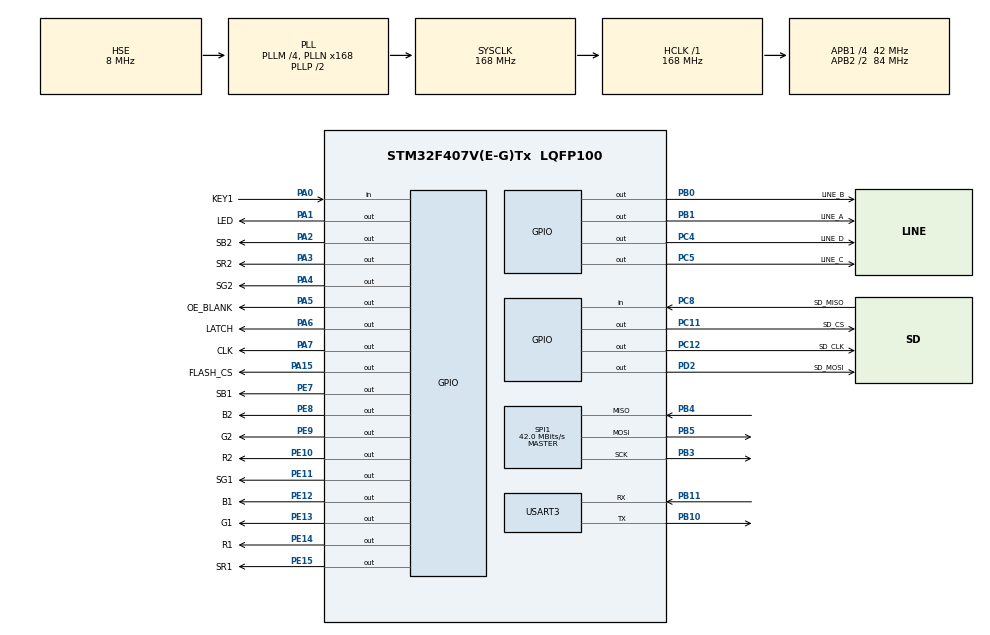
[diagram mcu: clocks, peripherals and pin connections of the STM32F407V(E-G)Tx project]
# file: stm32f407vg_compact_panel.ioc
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Mcu.Family=STM32F4
Mcu.Name=STM32F407V(E-G)Tx
Mcu.Package=LQFP100
NVIC.PriorityGroup=NVIC_PRIORITYGROUP_4
NVIC.TIM1_UP_TIM10_IRQn=true\:0\:0\:false\:false\:true\:true
NVIC.TIM2_IRQn=true\:0\:0\:false\:false\:true\:false
NVIC.TimeBase=TIM2_IRQn
NVIC.TimeBaseIP=TIM2
PA0-WKUP.GPIO_Label=KEY1
PA0-WKUP.GPIO_PuPd=GPIO_PULLDOWN
PA0-WKUP.Signal=GPIO_Input
PA1.GPIO_Label=LED
PA1.GPIO_ModeDefaultOutputPP=GPIO_MODE_OUTPUT_OD
PA1.Signal=GPIO_Output
PA13.Mode=Serial_Wire
PA13.Signal=SYS_JTMS-SWDIO
PA14.Mode=Serial_Wire
PA14.Signal=SYS_JTCK-SWCLK
PA15.GPIO_Label=FLASH_CS
PA15.Signal=GPIO_Output
PA2.GPIO_Label=SB2
PA2.Signal=GPIO_Output
PA3.GPIO_Label=SR2
PA3.Signal=GPIO_Output
PA4.GPIO_Label=SG2
PA4.Signal=GPIO_Output
PA5.GPIO_Label=OE_BLANK
PA5.Signal=GPIO_Output
PA6.GPIO_Label=LATCH
PA6.Signal=GPIO_Output
PA7.GPIO_Label=CLK
PA7.Signal=GPIO_Output
PB0.GPIO_Label=LINE_B
PB0.Signal=GPIO_Output
PB1.GPIO_Label=LINE_A
PB1.Signal=GPIO_Output
PB10.Mode=Asynchronous
PB10.Signal=USART3_TX
PB11.Mode=Asynchronous
PB11.Signal=USART3_RX
PB3.Mode=Full_Duplex_Master
PB3.Signal=SPI1_SCK
PB4.Mode=Full_Duplex_Master
PB4.Signal=SPI1_MISO
PB5.Mode=Full_Duplex_Master
PB5.Signal=SPI1_MOSI
PC11.GPIO_Label=SD_CS
PC11.GPIO_Speed=GPIO_SPEED_FREQ_VERY_HIGH
PC11.Signal=GPIO_Output
PC12.GPIO_Label=SD_CLK
PC12.GPIO_Speed=GPIO_SPEED_FREQ_VERY_HIGH
PC12.Signal=GPIO_Output
PC14-OSC32_IN.Mode=LSE-External-Oscillator
PC14-OSC32_IN.Signal=RCC_OSC32_IN
PC15-OSC32_OUT.Mode=LSE-External-Oscillator
PC15-OSC32_OUT.Signal=RCC_OSC32_OUT
PC4.GPIO_Label=LINE_D
PC4.Signal=GPIO_Output
PC5.GPIO_Label=LINE_C
PC5.Signal=GPIO_Output
PC8.GPIO_Label=SD_MISO
PC8.Signal=GPIO_Input
PD2.GPIO_Label=SD_MOSI
PD2.GPIO_Speed=GPIO_SPEED_FREQ_VERY_HIGH
PD2.Signal=GPIO_Output
PE10.GPIO_Label=R2
PE10.Signal=GPIO_Output
PE11.GPIO_Label=SG1
PE11.Signal=GPIO_Output
PE12.GPIO_Label=B1
PE12.Signal=GPIO_Output
PE13.GPIO_Label=G1
PE13.Signal=GPIO_Output
PE14.GPIO_Label=R1
PE14.Signal=GPIO_Output
PE15.GPIO_Label=SR1
PE15.Signal=GPIO_Output
PE7.GPIO_Label=SB1
PE7.Signal=GPIO_Output
PE8.GPIO_Label=B2
PE8.Signal=GPIO_Output
PE9.GPIO_Label=G2
PE9.Signal=GPIO_Output
PH0-OSC_IN.Mode=HSE-External-Oscillator
PH0-OSC_IN.Signal=RCC_OSC_IN
PH1-OSC_OUT.Mode=HSE-External-Oscillator
PH1-OSC_OUT.Signal=RCC_OSC_OUT
ProjectManager.HeapSize=0x200
ProjectManager.StackSize=0x400
ProjectManager.TargetToolchain=SW4STM32
RCC.48MHZClocksFreq_Value=48000000
RCC.AHBFreq_Value=168000000
RCC.APB1CLKDivider=RCC_HCLK_DIV4
RCC.APB1Freq_Value=42000000
RCC.APB1TimFreq_Value=84000000
RCC.APB2CLKDivider=RCC_HCLK_DIV2
RCC.APB2Freq_Value=84000000
RCC.APB2TimFreq_Value=168000000
RCC.CortexFreq_Value=168000000
RCC.HCLKFreq_Value=168000000
RCC.HSE_VALUE=8000000
RCC.HSI_VALUE=16000000
RCC.PLLM=4
RCC.PLLN=168
RCC.PLLQ=7
RCC.PLLSourceVirtual=RCC_PLLSOURCE_HSE
RCC.RCC_RTC_Clock_Source=RCC_RTCCLKSOURCE_LSE
RCC.RCC_RTC_Clock_SourceVirtual=RCC_RTCCLKSOURCE_LSE
RCC.RCC_RTC_Clock_Source_FROM_HSE=RCC_RTCCLKSOURCE_HSE_DIV16
RCC.SYSCLKFreq_VALUE=168000000
RCC.SYSCLKSource=RCC_SYSCLKSOURCE_PLLCLK
RCC.VCOOutputFreq_Value=336000000
SPI1.CalculateBaudRate=42.0 MBits/s
SPI1.Direction=SPI_DIRECTION_2LINES
SPI1.Mode=SPI_MODE_MASTER
SPI1.VirtualType=VM_MASTER
TIM1.Period=40-1
TIM1.Prescaler=168-1
USART3.VirtualMode=VM_ASYNC
VP_FATFS_VS_Generic.Mode=User_defined
VP_RTC_VS_RTC_Activate.Mode=RTC_Enabled
VP_RTC_VS_RTC_Calendar.Mode=RTC_Calendar
VP_SYS_VS_tim2.Mode=TIM2
VP_TIM1_VS_ClockSourceINT.Mode=Internal
board=custom

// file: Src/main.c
/* USER CODE BEGIN Header */
/**
  ******************************************************************************
  * @file           : main.c
  * @brief          : Main program body
  ******************************************************************************
  * This notice applies to any and all portions of this file
  * that are not between comment pairs USER CODE BEGIN and
  * USER CODE END. Other portions of this file, whether
  * inserted by the user or by software development tools
  * are owned by their respective copyright owners.
  *
  * Copyright (c) 2019 STMicroelectronics International N.V.
  * All rights reserved.
  *
  * Redistribution and use in source and binary forms, with or without
  * modification, are permitted, provided that the following conditions are met:
  *
  * 1. Redistribution of source code must retain the above copyright notice,
  *    this list of conditions and the following disclaimer.
  * 2. Redistributions in binary form must reproduce the above copyright notice,
  *    this list of conditions and the following disclaimer in the documentation
  *    and/or other materials provided with the distribution.
  * 3. Neither the name of STMicroelectronics nor the names of other
  *    contributors to this software may be used to endorse or promote products
  *    derived from this software without specific written permission.
  * 4. This software, including modifications and/or derivative works of this
  *    software, must execute solely and exclusively on microcontroller or
  *    microprocessor devices manufactured by or for STMicroelectronics.
  * 5. Redistribution and use of this software other than as permitted under
  *    this license is void and will automatically terminate your rights under
  *    this license.
  *
  * THIS SOFTWARE IS PROVIDED BY STMICROELECTRONICS AND CONTRIBUTORS "AS IS"
  * AND ANY EXPRESS, IMPLIED OR STATUTORY WARRANTIES, INCLUDING, BUT NOT
  * LIMITED TO, THE IMPLIED WARRANTIES OF MERCHANTABILITY, FITNESS FOR A
  * PARTICULAR PURPOSE AND NON-INFRINGEMENT OF THIRD PARTY INTELLECTUAL PROPERTY
  * RIGHTS ARE DISCLAIMED TO THE FULLEST EXTENT PERMITTED BY LAW. IN NO EVENT
  * SHALL STMICROELECTRONICS OR CONTRIBUTORS BE LIABLE FOR ANY DIRECT, INDIRECT,
  * INCIDENTAL, SPECIAL, EXEMPLARY, OR CONSEQUENTIAL DAMAGES (INCLUDING, BUT NOT
  * LIMITED TO, PROCUREMENT OF SUBSTITUTE GOODS OR SERVICES; LOSS OF USE, DATA,
  * OR PROFITS; OR BUSINESS INTERRUPTION) HOWEVER CAUSED AND ON ANY THEORY OF
  * LIABILITY, WHETHER IN CONTRACT, STRICT LIABILITY, OR TORT (INCLUDING
  * NEGLIGENCE OR OTHERWISE) ARISING IN ANY WAY OUT OF THE USE OF THIS SOFTWARE,
  * EVEN IF ADVISED OF THE POSSIBILITY OF SUCH DAMAGE.
  *
  ******************************************************************************
  */
/* USER CODE END Header */

#include "main.h"
#include "fatfs.h"

/* USER CODE BEGIN Includes */
#include <stdio.h>
#include <stdarg.h>
#include <string.h>
#include <math.h>
#include "w25qxx.h"
#include "stm32_adafruit_sd.h"

/* USER CODE END Includes */

RTC_HandleTypeDef hrtc;

SPI_HandleTypeDef hspi1;

TIM_HandleTypeDef htim1;

UART_HandleTypeDef huart3;

/* USER CODE BEGIN PV */
void retarget_put_char(char p)
{
	//UartReadyT = RESET;
	HAL_UART_Transmit(&huart3, &p, 1,0xffff); // send message via UART
	//while(UartReadyT != SET)
	//{

	//}
}

int _write(int fd, char* ptr, int len)
{
    (void)fd;
    int i = 0;
    while (ptr[i] && (i < len))
    {
    	if (ptr[i] == '\r')
    	{

    	}
    	else
    	{
    		retarget_put_char((int)ptr[i]);
			if (ptr[i] == '\n')
			{
				retarget_put_char((int)'\r');
			}
    	}
        i++;
    }
    return len;
}
uint8_t      SD_BUFF[512];
#define SD_TIMEOUT 30 * 1000

/* USER CODE END PV */

void SystemClock_Config(void);
static void MX_GPIO_Init(void);
static void MX_RTC_Init(void);
static void MX_USART3_UART_Init(void);
static void MX_SPI1_Init(void);
static void MX_TIM1_Init(void);

/* USER CODE BEGIN 0 */
#define SW 64
#define SH 64
uint8_t matrix[SH][SW][3];
uint16_t matrix_comp[SH][SW];

/*
 * PIN IN
 * R1  G1
 * B1  GRN
 * R2  G2
 * B2  GND
 * A   B
 * C   D
 * CLK LAT
 * OE  GND
 */

volatile int ss = 0;
#define SDEL(N) {for(int k=0;k<N;k++) ss++;}
void tick(int p)
{
	SDEL(1);
	HAL_GPIO_WritePin(CLK_GPIO_Port,CLK_Pin,p?GPIO_PIN_SET:GPIO_PIN_RESET);
	SDEL(1);
}
void latch(int p)
{
	SDEL(1);
	HAL_GPIO_WritePin(LATCH_GPIO_Port,LATCH_Pin,p?GPIO_PIN_SET:GPIO_PIN_RESET);
	SDEL(1);
}
void blank(int p)
{
	SDEL(1);
	HAL_GPIO_WritePin(OE_BLANK_GPIO_Port,OE_BLANK_Pin,p?GPIO_PIN_SET:GPIO_PIN_RESET);
	SDEL(1);
}

void clear()
{
	for(int y=0;y<SH;y++)
	{
		for(int x=0;x<SW;x++)
		{
			matrix[y][x][0] = 0;
			matrix[y][x][1] = 0;
			matrix[y][x][2] = 0;
		}
	}
}
uint16_t LCD_getWidth() {
    return SW;
}

uint16_t LCD_getHeight() {
    return SH;
}
#define MAX(X,Y) ((X>Y)?X:Y)
#define MIN(X,Y) ((X<Y)?X:Y)
inline int clamp(int val,int minval,int maxval)
{
	return MAX(MIN(maxval,val),minval);
}
uint16_t makeColor(int R,int G,int B) //565
{
	return ((R>>3)<<11)|((G>>2)<<5)|(B>>3);
}
#define BLACK           0x0000      /*   0,   0,   0 */
#define NAVY            0x000F      /*   0,   0, 128 */
#define DGREEN          0x03E0      /*   0, 128,   0 */
#define DCYAN           0x03EF      /*   0, 128, 128 */
#define MAROON          0x7800      /* 128,   0,   0 */
#define PURPLE          0x780F      /* 128,   0, 128 */
#define OLIVE           0x7BE0      /* 128, 128,   0 */
#define LGRAY           0xC618      /* 192, 192, 192 */
#define DGRAY           0x7BEF      /* 128, 128, 128 */
#define BLUE            0x001F      /*   0,   0, 255 */
#define GREEN           0x07E0      /*   0, 255,   0 */
#define CYAN            0x07FF      /*   0, 255, 255 */
#define RED             0xF800      /* 255,   0,   0 */
#define MAGENTA         0xF81F      /* 255,   0, 255 */
#define YELLOW          0xFFE0      /* 255, 255,   0 */
#define WHITE           0xFFFF      /* 255, 255, 255 */
#define ORANGE          0xFD20      /* 255, 165,   0 */
//#define BGROUND   makeColor(16,0,16)
#define BGROUND   makeColor(0,0,0)
uint16_t colorTableA[] =
{
		NAVY,
		YELLOW,
		WHITE,
		MAGENTA,
		RED,
		CYAN,
		GREEN,
		BLUE,
		OLIVE,
		PURPLE,
		MAROON,
		NAVY,
		DGREEN
};

void splitColor(uint16_t COLOR,uint8_t* RGB,int BR)
{
	RGB[0] = (((COLOR>>11)&0x1f)<<3)>>BR;
	RGB[1] = (((COLOR>>5)&0x3f)<<2)>>BR;
	RGB[2] = (((COLOR)&0x1f)<<3)>>BR;
}
inline void LCD_fillRect(uint16_t x1, uint16_t y1, uint16_t w, uint16_t h, uint16_t color)
{
	x1 = clamp(x1,0,SW);
	int x2 = clamp(x1+w,0,SW);
	y1 = clamp(y1,0,SH);
	int y2 = clamp(y1+h,0,SH);
	//printf("%d,%d %d,%d\n",x1,y1,x2,y2);
	for(int y = y1; y<y2;y++)
	{
		for(int x = x1; x<x2;x++)
		{
			matrix_comp[y][x] = color;
		}
	}
}
inline void LCD_fillRectP(uint16_t x1, uint16_t y1, uint16_t w, uint16_t h, uint16_t *color)
{
	x1 = clamp(x1,0,SW);
	int x2 = clamp(x1+w,0,SW);
	y1 = clamp(y1,0,SH);
	int y2 = clamp(y1+h,0,SH);
	//printf("%d,%d %d,%d\n",x1,y1,x2,y2);
	for(int y = y1; y<y2;y++)
	{
		for(int x = x1; x<x2;x++)
		{
			matrix_comp[y][x] = *color++;
		}
	}
}
inline void LCD_DrawHLine(uint16_t x1,uint16_t y1,uint16_t length,uint16_t color)
{
	LCD_fillRect(x1,y1,length,1,color);
}
inline void LCD_DrawVLine(uint16_t x1,uint16_t y1,uint16_t length,uint16_t color)
{
	LCD_fillRect(x1,y1,1,length,color);
}
inline void LCD_DrawPixel(uint16_t x1, uint16_t y1,uint16_t color)
{
	LCD_fillRect(x1, y1, 1, 1,color);
}
#define ABS(X)  ((X) > 0 ? (X) : -(X))
void LCD_DrawLine(uint16_t x1, uint16_t y1, uint16_t x2, uint16_t y2,uint16_t color)
{
  int16_t deltax = 0, deltay = 0, x = 0, y = 0, xinc1 = 0, xinc2 = 0,
  yinc1 = 0, yinc2 = 0, den = 0, num = 0, numadd = 0, numpixels = 0,
  curpixel = 0;

  deltax = ABS(x2 - x1);        /* The difference between the x's */
  deltay = ABS(y2 - y1);        /* The difference between the y's */
  x = x1;                       /* Start x off at the first pixel */
  y = y1;                       /* Start y off at the first pixel */

  if (x2 >= x1)                 /* The x-values are increasing */
  {
    xinc1 = 1;
    xinc2 = 1;
  }
  else                          /* The x-values are decreasing */
  {
    xinc1 = -1;
    xinc2 = -1;
  }

  if (y2 >= y1)                 /* The y-values are increasing */
  {
    yinc1 = 1;
    yinc2 = 1;
  }
  else                          /* The y-values are decreasing */
  {
    yinc1 = -1;
    yinc2 = -1;
  }

  if (deltax >= deltay)         /* There is at least one x-value for every y-value */
  {
    xinc1 = 0;                  /* Don't change the x when numerator >= denominator */
    yinc2 = 0;                  /* Don't change the y for every iteration */
    den = deltax;
    num = deltax / 2;
    numadd = deltay;
    numpixels = deltax;         /* There are more x-values than y-values */
  }
  else                          /* There is at least one y-value for every x-value */
  {
    xinc2 = 0;                  /* Don't change the x for every iteration */
    yinc1 = 0;                  /* Don't change the y when numerator >= denominator */
    den = deltay;
    num = deltay / 2;
    numadd = deltax;
    numpixels = deltay;         /* There are more y-values than x-values */
  }

  for (curpixel = 0; curpixel <= numpixels; curpixel++)
  {
    LCD_DrawPixel(x, y , color);  /* Draw the current pixel */
    num += numadd;                            /* Increase the numerator by the top of the fraction */
    if (num >= den)                           /* Check if numerator >= denominator */
    {
      num -= den;                             /* Calculate the new numerator value */
      x += xinc1;                             /* Change the x as appropriate */
      y += yinc1;                             /* Change the y as appropriate */
    }
    x += xinc2;                               /* Change the x as appropriate */
    y += yinc2;                               /* Change the y as appropriate */
  }
}

void LCD_DrawCircle(uint16_t Xpos, uint16_t Ypos, uint16_t Radius,uint16_t color)
{
   if(Radius==0)
   {
	   LCD_DrawPixel(Xpos,Ypos,color);
	   return;
   }

  int32_t  D;       /* Decision Variable */
  uint32_t  CurX;   /* Current X Value */
  uint32_t  CurY;   /* Current Y Value */

  D = 3 - (Radius << 1);
  CurX = 0;
  CurY = Radius;

  while (CurX <= CurY)
  {
    LCD_DrawPixel((Xpos + CurX), (Ypos - CurY), color);

    LCD_DrawPixel((Xpos - CurX), (Ypos - CurY), color);

    LCD_DrawPixel((Xpos + CurY), (Ypos - CurX), color);

    LCD_DrawPixel((Xpos - CurY), (Ypos - CurX), color);

    LCD_DrawPixel((Xpos + CurX), (Ypos + CurY), color);

    LCD_DrawPixel((Xpos - CurX), (Ypos + CurY), color);

    LCD_DrawPixel((Xpos + CurY), (Ypos + CurX), color);

    LCD_DrawPixel((Xpos - CurY), (Ypos + CurX), color);

    if (D < 0)
    {
      D += (CurX << 2) + 6;
    }
    else
    {
      D += ((CurX - CurY) << 2) + 10;
      CurY--;
    }
    CurX++;
  }
}
void LCD_DrawCircleFull(uint16_t Xpos, uint16_t Ypos, uint16_t Radius,uint16_t color)
{
   if(Radius==0)
   {
	   LCD_DrawPixel(Xpos,Ypos,color);
	   return;
   }

  int32_t  D;       /* Decision Variable */
  uint32_t  CurX;   /* Current X Value */
  uint32_t  CurY;   /* Current Y Value */

  D = 3 - (Radius << 1);
  CurX = 0;
  CurY = Radius;

  while (CurX <= CurY)
  {
//    LCD_DrawPixel((Xpos + CurX), (Ypos - CurY), color);
//    LCD_DrawPixel((Xpos - CurX), (Ypos - CurY), color);
    LCD_DrawHLine(Xpos - CurX,Ypos - CurY,CurX*2,color);

//    LCD_DrawPixel((Xpos + CurY), (Ypos - CurX), color);
//    LCD_DrawPixel((Xpos - CurY), (Ypos - CurX), color);
    LCD_DrawHLine(Xpos - CurY,Ypos - CurX,CurY*2,color);

//    LCD_DrawPixel((Xpos + CurX), (Ypos + CurY), color);
//    LCD_DrawPixel((Xpos - CurX), (Ypos + CurY), color);
    LCD_DrawHLine(Xpos - CurX,Ypos + CurY,CurX*2,color);

//    LCD_DrawPixel((Xpos + CurY), (Ypos + CurX), color);
//    LCD_DrawPixel((Xpos - CurY), (Ypos + CurX), color);
    LCD_DrawHLine(Xpos - CurY,Ypos + CurX,CurY*2,color);

    if (D < 0)
    {
      D += (CurX << 2) + 6;
    }
    else
    {
      D += ((CurX - CurY) << 2) + 10;
      CurY--;
    }
    CurX++;
  }
}

void LCD_DrawEllipse(int Xpos, int Ypos, int XRadius, int YRadius,uint16_t color)
{
  int x = 0, y = -YRadius, err = 2-2*XRadius, e2;
  float K = 0, rad1 = 0, rad2 = 0;

  rad1 = XRadius;
  rad2 = YRadius;

  K = (float)(rad2/rad1);

  do {
	  uint16_t dt = (uint16_t)(x/K);
    LCD_DrawPixel(Xpos-dt, (Ypos+y), color);
    LCD_DrawPixel(Xpos+dt, (Ypos+y), color);
    LCD_DrawPixel(Xpos+dt, (Ypos-y), color);
    LCD_DrawPixel(Xpos-dt, (Ypos-y), color);

    e2 = err;
    if (e2 <= x) {
      err += ++x*2+1;
      if (-y == x && e2 <= y) e2 = 0;
    }
    if (e2 > y) err += ++y*2+1;
  }
  while (y <= 0);
}
void LCD_DrawEllipseFull(int Xpos, int Ypos, int XRadius, int YRadius,uint16_t color)
{
  int x = 0, y = -YRadius, err = 2-2*XRadius, e2;
  float K = 0, rad1 = 0, rad2 = 0;

  rad1 = XRadius;
  rad2 = YRadius;

  K = (float)(rad2/rad1);

  do {
	  uint16_t dt = (uint16_t)(x/K);
	  LCD_DrawHLine(Xpos-dt, (Ypos+y),dt*2, color);
	  LCD_DrawHLine(Xpos-dt, (Ypos-y),dt*2, color);

    e2 = err;
    if (e2 <= x) {
      err += ++x*2+1;
      if (-y == x && e2 <= y) e2 = 0;
    }
    if (e2 > y) err += ++y*2+1;
  }
  while (y <= 0);
}

#include "fonts.h"
sFONT* FONT_CURR =  &Font12;
#define CHAR_WIDTH (FONT_CURR->Width)
#define CHAR_HEIGHT (FONT_CURR->Height)

void LCD_Draw_Char2(char Character, int16_t X, int16_t Y, uint16_t Colour, uint16_t SizeX,uint16_t SizeY, uint16_t Background_Colour)
{
	//~ flagReinit = 1;
	uint8_t 	function_char;
    int16_t 	i,j;

	function_char = Character;

	// Draw pixels
	LCD_fillRect(X, Y, CHAR_WIDTH*SizeX, CHAR_HEIGHT*SizeY, Background_Colour);

    if (function_char <= 0x20)
	{

	}
	else
	{
		function_char -= 0x20;
		int rw = (CHAR_WIDTH+7)/8;
		for (j=0; j<FONT_CURR->Height; j++)
		{
			uint8_t* pnt =  FONT_CURR->table+j*rw+function_char*FONT_CURR->Height*rw;
			for (i=0; i<FONT_CURR->Width; i++)
			{
				uint8_t bt = pnt[i/8];
				if(bt&(1<<(7-(i&7))))
				{
					LCD_fillRect(X+(i*SizeX), Y+(j*SizeY), SizeX,SizeY, Colour);
				}
			}
		}
	}
}

void ClrScr()
{
	LCD_fillRect(0,0,LCD_getWidth(),LCD_getHeight(),BGROUND);
}
void convertColors()
{
	for(int y=0;y<SH;y++)
	{
		for(int x=0;x<SW;x++)
		{
			splitColor(matrix_comp[y][x],&matrix[y][x][0],4);
		}
	}
}
#define HAL_GPIO_WritePinAI(X,Y,Z)  (X)->BSRR= (Y)<<(Z)
/*
volatile uint32_t timeCount = 0;
void rDelayMks(int mks)
{
	volatile uint32_t timeCount_stop = timeCount+mks/10;
	while((timeCount_stop-timeCount)<0x800000)
	{
		//nothing
	}

}
*/
volatile static y_count2  = 0;
volatile static y_cnt     = 0;

void shiftData(int ON_OFF,int y_base)
{
	//for(int y=0;y<SH/2;y++)
	if(y_base&1)
	{
		blank(1);
		return;
	}
	else
	{
		int y = y_base>>1;
			latch(1);
				tick(0);
				tick(1);
				tick(0);
				tick(1);
				tick(0);
				tick(1);
				tick(0);
			latch(0);

			for(int i=0;i<SW;i++)
			{
				//tick(0);
				HAL_GPIO_WritePinAI(CLK_GPIO_Port,CLK_Pin,16);
				HAL_GPIO_WritePinAI(CLK_GPIO_Port,CLK_Pin,16);

				HAL_GPIO_WritePinAI(R1_GPIO_Port,R1_Pin,((matrix[y][i][0]>ON_OFF)?0:16));
				HAL_GPIO_WritePinAI(G1_GPIO_Port,G1_Pin,((matrix[y][i][1]>ON_OFF)?0:16));
				HAL_GPIO_WritePinAI(B1_GPIO_Port,B1_Pin,((matrix[y][i][2]>ON_OFF)?0:16));

				HAL_GPIO_WritePinAI(R2_GPIO_Port,R2_Pin,((matrix[y+SH/4][i][0]>ON_OFF)?0:16));
				HAL_GPIO_WritePinAI(G2_GPIO_Port,G2_Pin,((matrix[y+SH/4][i][1]>ON_OFF)?0:16));
				HAL_GPIO_WritePinAI(B2_GPIO_Port,B2_Pin,((matrix[y+SH/4][i][2]>ON_OFF)?0:16));

				HAL_GPIO_WritePinAI(SR1_GPIO_Port,SR1_Pin,((matrix[y+2*SH/4][i][0]>ON_OFF)?0:16));
				HAL_GPIO_WritePinAI(SG1_GPIO_Port,SG1_Pin,((matrix[y+2*SH/4][i][1]>ON_OFF)?0:16));
				HAL_GPIO_WritePinAI(SB1_GPIO_Port,SB1_Pin,((matrix[y+2*SH/4][i][2]>ON_OFF)?0:16));

				HAL_GPIO_WritePinAI(SR2_GPIO_Port,SR2_Pin,((matrix[y+3*SH/4][i][0]>ON_OFF)?0:16));
				HAL_GPIO_WritePinAI(SG2_GPIO_Port,SG2_Pin,((matrix[y+3*SH/4][i][1]>ON_OFF)?0:16));
				HAL_GPIO_WritePinAI(SB2_GPIO_Port,SB2_Pin,((matrix[y+3*SH/4][i][2]>ON_OFF)?0:16));

				//tick(0);
				//HAL_GPIO_WritePinAI(CLK_GPIO_Port,CLK_Pin,16);
				//HAL_GPIO_WritePinAI(CLK_GPIO_Port,CLK_Pin,16);
				HAL_GPIO_WritePinAI(CLK_GPIO_Port,CLK_Pin,16);
				HAL_GPIO_WritePinAI(CLK_GPIO_Port,CLK_Pin,16);
			//	HAL_GPIO_WritePinAI(CLK_GPIO_Port,CLK_Pin,16);
			//	HAL_GPIO_WritePinAI(CLK_GPIO_Port,CLK_Pin,16);
				//tick(1);
				//HAL_GPIO_WritePinAI(CLK_GPIO_Port,CLK_Pin,0);
				HAL_GPIO_WritePinAI(CLK_GPIO_Port,CLK_Pin,0);
				HAL_GPIO_WritePinAI(CLK_GPIO_Port,CLK_Pin,0);
			}
			tick(0);
			latch(1);
			latch(0);
		HAL_GPIO_WritePin(LINE_A_GPIO_Port,LINE_A_Pin,((y)&(1))?GPIO_PIN_SET:GPIO_PIN_RESET);
		HAL_GPIO_WritePin(LINE_B_GPIO_Port,LINE_B_Pin,((y)&(2))?GPIO_PIN_SET:GPIO_PIN_RESET);
		HAL_GPIO_WritePin(LINE_C_GPIO_Port,LINE_C_Pin,((y)&(4))?GPIO_PIN_SET:GPIO_PIN_RESET);
		HAL_GPIO_WritePin(LINE_D_GPIO_Port,LINE_D_Pin,((y)&(8))?GPIO_PIN_SET:GPIO_PIN_RESET);
		blank(0);
		//rDelayMks(10);
		//rDelayMks(10);
	}
}

void HAL_TIM_PeriodElapsedCallback1(TIM_HandleTypeDef *htim)
{
	shiftData(y_cnt , y_count2);
	y_count2++;
	if(y_count2>=SH/2)
	{
		y_count2 = 0;
		y_cnt = (y_cnt+1)%16;
	}
}
void  LCD_Draw_Text2(const char* Text, int16_t X, int16_t Y, uint16_t Colour, uint16_t SizeX, uint16_t SizeY,uint16_t Background_Colour)
{
    while (*Text) {
        LCD_Draw_Char2(*Text, X, Y, Colour, SizeX,SizeY, Background_Colour);
        X += CHAR_WIDTH*SizeX;
	Text++;
    }
}

char* MontTable[] = {"   ","Jan","Feb","Mar","Apr","May","Jun","Jul","Aug","Sep","Oct","Nov","Dec"};
void dTest()
{
	  {
			uint32_t trt = HAL_GetTick();
			int k;
			//setBK_imp(99);

			for(k=0;k<1000;k++)
			{
				int IW = rand()%(LCD_getWidth()/2);
				int IH = rand()%(LCD_getHeight()/2);
				int xPos =rand()%(LCD_getWidth()-IW);
				int yPos =rand()%(LCD_getHeight()-IH);

				LCD_fillRect(xPos, yPos, IW, IH,rand());
				convertColors();
				//HAL_GPIO_TogglePin(BOARD_LED_GPIO_Port,BOARD_LED_Pin);
			}
			trt = (HAL_GetTick()-trt);
			printf("Rect Full %d ms\n",trt);
			HAL_Delay(1000);
			LCD_fillRect(0, 0, LCD_getWidth(), LCD_getHeight(), BLACK);
	  }
	  {
			uint32_t trt = HAL_GetTick();
			int k;
			//setBK_imp(99);

			for(k=0;k<1000;k++)
			{
				int IW = rand()%(LCD_getWidth()/2);
				int IH = rand()%(LCD_getHeight()/2);
				int xPos =rand()%(LCD_getWidth()-IW);
				int yPos =rand()%(LCD_getHeight()-IH);

				LCD_fillRect(xPos, yPos, IW, IH,rand());
				convertColors();
				//HAL_GPIO_TogglePin(BOARD_LED_GPIO_Port,BOARD_LED_Pin);
			}
			trt = (HAL_GetTick()-trt);
			printf("Rect %d ms\n",trt);
			HAL_Delay(1000);
			LCD_fillRect(0, 0, LCD_getWidth(), LCD_getHeight(), BLACK);
	  }
	  {
			uint32_t trt = HAL_GetTick();
			int k;
			//setBK_imp(99);

			for(k=0;k<1000;k++)
			{
				int xPos =rand()%(LCD_getWidth());
				int yPos =rand()%(LCD_getHeight());
				int xPos1 =rand()%(LCD_getWidth());
				int yPos1 =rand()%(LCD_getHeight());

				LCD_DrawLine(xPos, yPos,xPos1,yPos1,rand());
				convertColors();
				//HAL_GPIO_TogglePin(BOARD_LED_GPIO_Port,BOARD_LED_Pin);
			}
			trt = (HAL_GetTick()-trt);
			printf("Lines %d ms\n",trt);
			HAL_Delay(1000);
			LCD_fillRect(0, 0, LCD_getWidth(), LCD_getHeight(), BLACK);
	  }
	  {
			uint32_t trt = HAL_GetTick();
			int k;
			//setBK_imp(99);

			for(k=0;k<1000;k++)
			{
				int R = (rand()%(LCD_getHeight()/4));
				int xPos =rand()%(LCD_getWidth()-R*2);
				int yPos =rand()%(LCD_getHeight()-R*2);

				LCD_DrawCircle(xPos+R, yPos+R, R ,rand());
				convertColors();
				//HAL_GPIO_TogglePin(BOARD_LED_GPIO_Port,BOARD_LED_Pin);
			}
			trt = (HAL_GetTick()-trt);
			printf("Circle %d ms\n",trt);
			HAL_Delay(1000);
			LCD_fillRect(0, 0, LCD_getWidth(), LCD_getHeight(), BLACK);
	  }
	  {
			uint32_t trt = HAL_GetTick();
			int k;
			//setBK_imp(99);

			for(k=0;k<1000;k++)
			{
				int R = (rand()%(LCD_getHeight()/4));
				int xPos =rand()%(LCD_getWidth()-R*2);
				int yPos =rand()%(LCD_getHeight()-R*2);

				LCD_DrawCircleFull(xPos+R, yPos+R, R ,rand());
				convertColors();
				//HAL_GPIO_TogglePin(BOARD_LED_GPIO_Port,BOARD_LED_Pin);
			}
			trt = (HAL_GetTick()-trt);
			printf("Circle Full %d ms\n",trt);
			HAL_Delay(1000);
			LCD_fillRect(0, 0, LCD_getWidth(), LCD_getHeight(), BLACK);
	  }
	  {
			uint32_t trt = HAL_GetTick();
			int k;
			//setBK_imp(99);

			for(k=0;k<1000;k++)
			{
				int R = (rand()%(LCD_getHeight()/4));
				int xPos =rand()%(LCD_getWidth()-R*2);
				int yPos =rand()%(LCD_getHeight()-R*2);

				LCD_DrawEllipse(xPos+R, yPos+R, R ,R+1,rand());
				convertColors();
				//HAL_GPIO_TogglePin(BOARD_LED_GPIO_Port,BOARD_LED_Pin);
			}
			trt = (HAL_GetTick()-trt);
			printf("Ellipse %d ms\n",trt);
			HAL_Delay(1000);
			LCD_fillRect(0, 0, LCD_getWidth(), LCD_getHeight(), BLACK);
	  }
	  {
			uint32_t trt = HAL_GetTick();
			int k;
			//setBK_imp(99);

			for(k=0;k<1000;k++)
			{
				int R = (rand()%(LCD_getHeight()/4));
				int xPos =rand()%(LCD_getWidth()-R*2);
				int yPos =rand()%(LCD_getHeight()-R*2);

				LCD_DrawEllipseFull(xPos+R, yPos+R, R ,R+1,rand());
				convertColors();
				//HAL_GPIO_TogglePin(BOARD_LED_GPIO_Port,BOARD_LED_Pin);
			}
			trt = (HAL_GetTick()-trt);
			printf("Ellipse Full %d ms\n",trt);
			HAL_Delay(1000);
			LCD_fillRect(0, 0, LCD_getWidth(), LCD_getHeight(), BLACK);
			convertColors();
	  }

}
typedef struct v2ff
{
	float x;
	float y;
}vec2f;

void rotate_mat(float angle,float x,float y,float * mat)
{
	float SIN = sin(angle);
	float COS = cos(angle);
	mat[0] = COS; mat[1]  = -SIN;  mat[2] =x;
	mat[3] = SIN;  mat[4]  =  COS; mat[5] =y;
}

vec2f  apply(float * mat,vec2f  vec)
{
	vec2f res;
	res.x =	vec.x*mat[0] +vec.y*mat[1] +mat[2] ;
	res.y =	vec.x*mat[3] +vec.y*mat[4] +mat[5] ;
	return res;
}

vec2f vec2f_cr (float x,float y)
{
	vec2f res;
	res.x = x;
	res.y = y;
	return res;
}

FIL      MyFile;
#define BSIZE 1024
uint8_t dbl_b[BSIZE];
int head=0;
int tail=0;
void int_h()
{
	head = 0;
	tail = 0;
}
int in_s()
{
	return (head-tail)&(BSIZE-1);
}
int flag_stop = 0;
inline uint8_t int_g()
{
	uint8_t res;
	if(!(in_s()&512))
	{
		size_t BytesReadfile = 0;
		f_read (&MyFile, &dbl_b[head], 512 , &BytesReadfile);
		head = (head + BytesReadfile)&(BSIZE-1);
		if(BytesReadfile==0)
			flag_stop = 1;
	}
	res = dbl_b[tail];
	tail= (tail+1)&(BSIZE-1);
	return res;
}

/* USER CODE END 0 */

int main(void)
{

  /* MCU Configuration--------------------------------------------------------*/

  /* Reset of all peripherals, Initializes the Flash interface and the Systick. */
  HAL_Init();

  /* Configure the system clock */
  SystemClock_Config();

  /* Initialize all configured peripherals */
  MX_GPIO_Init();
  MX_RTC_Init();
  MX_USART3_UART_Init();
  MX_SPI1_Init();
  MX_TIM1_Init();
  MX_FATFS_Init();
  /* USER CODE BEGIN 2 */
  printf("\n\n\nProgram start!\n");
  W25qxx_Init();
  //extern w25qxx_t	w25qxx;
  printf("FLASH ID = %x\n",w25qxx.ID);
  printf("FLASH BlockSize  = 0x%x\n",w25qxx.BlockSize);
  printf("FLASH BlockCount = 0x%x\n",w25qxx.BlockCount);
  printf("FLASH SectorSize  = 0x%x\n",w25qxx.SectorSize);
  printf("FLASH SectorCount = 0x%x\n",w25qxx.SectorCount);
  printf("FLASH PageSize  = 0x%x\n",w25qxx.PageSize);
  printf("FLASH PageCount = 0x%x\n",w25qxx.PageCount);
  printf("FLASH CapacityInKiloByte = %ldKB\n",w25qxx.CapacityInKiloByte);
  printf("\n");
  SD_CardInfo CardInfo;
  uint8_t res = BSP_SD_Init();
  //if(res==MSD_OK)
  {
  BSP_SD_GetCardInfo(&CardInfo);
  printf("hsd.CardCapacity =%d\n",CardInfo.CardCapacity);
  //printf("hsd.SdCard.BlockNbr=%d\n",hsd.SdCard.BlockNbr);
  //printf("hsd.SdCard.BlockSize=%d\n",hsd.SdCard.BlockSize);
  //printf("hsd.SdCard.CardType=%d\n",hsd.SdCard.CardType);
  //printf("hsd.SdCard.CardVersion=%d\n",hsd.SdCard.CardVersion);
  //printf("hsd.SdCard.Class=%d\n",hsd.SdCard.Class);
  printf("hsd.CardBlockSize =%d\n",CardInfo.CardBlockSize);
  printf("hsd.SdCard.LogBlockNbr=%d\n",CardInfo.LogBlockNbr);
  printf("hsd.SdCard.LogBlockSize=%d\n",CardInfo.LogBlockSize);
  uint64_t size_k = CardInfo.LogBlockNbr;
  size_k = size_k*CardInfo.LogBlockSize;

  HAL_TIM_Base_Start_IT(&htim1);

  printf("CardInfo size %d MB\n",(int)(size_k/1024/1024));
  {
	  int32_t tk = HAL_GetTick();
	  int stat = 0;
	  int kk;
	  for(kk=0;(kk<2*64)&&!stat;kk++)
	  {
  			stat = BSP_SD_ReadBlocks(&SD_BUFF[0],kk,1, SD_TIMEOUT);
	  }
	  tk = HAL_GetTick()-tk;
	  printf("Read %d blocks (bytes = %d) in %d ms st = %d\n",kk,kk*512,tk,stat);
	//  paint();
  }
}
  //dTest();
  f_mount(NULL,USERPath, 0);
 	if(f_mount(&USERFatFS,USERPath, 0) != FR_OK)
 	{
 		printf("f_mount Error!\r\n");
 		return 0;
 	}
	//disassemble_program();

  ClrScr();
  convertColors();
  LCD_fillRect(0,0,LCD_getWidth(),LCD_getHeight(),BGROUND);
  convertColors();
 // color_init();
  int_h();

  uint16_t *table;
  if(f_open(&MyFile, "image2u.dat", FA_READ) == FR_OK)
  //if(f_open(&MyFile, "image4u.dat", FA_READ) == FR_OK)
  //if(0)
 // if(f_open(&MyFile, "ima3u.dat", FA_READ) == FR_OK)
  {

	  int W;
	  int H;
	  int SSIZE;
	  size_t BytesReadfile=10 ;

	  f_read (&MyFile, &W, 4 , &BytesReadfile);
	  f_read (&MyFile, &H, 4 , &BytesReadfile);
	  f_read (&MyFile, &SSIZE, 4 , &BytesReadfile);
	  printf("W=%d H=%d size=%d\n",W,H,SSIZE);
	  table = malloc(SSIZE*2);
	  for(int k=0;k<SSIZE;k++)
	  {
		  uint8_t rb[2];
		  f_read (&MyFile, &rb[0], 2 , &BytesReadfile);
		  table[k] = rb[0]*256+rb[1];
		  //f_read (&MyFile, &table[k], 2 , &BytesReadfile);

	  }

	  uint8_t   bbuff[240];
	  uint16_t lbuff[240];
	  int frame = 0;
	  int err = 0;
	  while(!err)
	  {
		  uint32_t trt = HAL_GetTick();
		  frame++;
		  for(int y=0;y<H;y++)
		  {
			  //
			  f_read (&MyFile, bbuff, 240 , &BytesReadfile);
			  if(!BytesReadfile) err = 1;

			  for(int x=0;x<240;x++)
			  {
				  //lbuff[x]= ct[int_g()];
				  //lbuff[x]= ct[bbuff[x]];
				  lbuff[x/2]= table[bbuff[x]];

			  }
			  if((y<128)&&(y&1))
			  {
				  //LCD_sendLineRect((240-H)/2+y,(uint8_t*)lbuff);
				  LCD_fillRectP(0,y/2,64,1,&lbuff[120/2-64/2]);
			  }
		  }
		  convertColors();
		  if(flag_stop) err = 1;
		  trt = (HAL_GetTick()-trt);
		  if(trt<40)
		  {
			  HAL_Delay(40-trt);
		  }
		  //char buff[0x20];

		 // sprintf(buff,"frame in %02d ms\n",trt);
		 // while(hspi4.State!=HAL_SPI_STATE_READY){};
		//  LCD_Draw_Text2(buff,0,0,GREEN,2,3,BLACK);
		  if(frame%100==0)
			  printf("rd %d mS\n",trt);
	  }
	  f_close(&MyFile);
  }

  /* USER CODE END 2 */

  /* Infinite loop */
  /* USER CODE BEGIN WHILE */
  int cnt = -1;
  while (1)
  {
    /* USER CODE END WHILE */

    /* USER CODE BEGIN 3 */
		 RTC_TimeTypeDef sTime;
		 HAL_RTC_GetTime(&hrtc, &sTime, RTC_FORMAT_BIN);
		 RTC_DateTypeDef sDate;
		 HAL_RTC_GetDate(&hrtc, &sDate, RTC_FORMAT_BIN);
			static int pos = 0;
				 if(sTime.Seconds!=cnt)
				 {
					//pos = (pos+2)%32;
					 char Buff[0x20];
					 ClrScr();
//					 LCD_fillRect(0, 0, LCD_getWidth(), LCD_getHeight(), RED);
//					 LCD_fillRect(1, 1, LCD_getWidth()-2, LCD_getHeight()-2, GREEN);
//					 LCD_fillRect(2, 2, LCD_getWidth()-4, LCD_getHeight()-4, BLUE);
//					 LCD_fillRect(3, 3, LCD_getWidth()-6, LCD_getHeight()-6, BLACK);
					 //LCD_fillRect(0, 0, LCD_getWidth(), LCD_getHeight(), makeColor(255,0,0));
					 LCD_fillRect(0, 0, LCD_getWidth(), LCD_getHeight(), makeColor(16,16,16));
					// LCD_fillRect(1, 1, LCD_getWidth()-2, LCD_getHeight()-2, GREEN);
					 LCD_fillRect(2, 2, LCD_getWidth()-4, LCD_getHeight()-4, BGROUND);
					 //LCD_fillRect(3, 3, LCD_getWidth()-6, LCD_getHeight()-6, BLACK);
						int R = SW/2-1;
					//	LCD_DrawCircle(SH/2, SW/2, R ,GREEN);

					 cnt = sTime.Seconds;

					 sprintf(Buff,"%02d:%02d:%02d",sTime.Hours,sTime.Minutes,sTime.Seconds);
					vec2f center = vec2f_cr(SW/2-0.5,SH/2-0.5);

					 float mat[6];
					 FONT_CURR =  &Font12;
					// LCD_Draw_Text2(Buff,4,0,GREEN,1,1,BGROUND);

					 FONT_CURR =  &Font8;
					 sprintf(Buff,"%02d %s 20%02d",sDate.Date,MontTable[sDate.Month],sDate.Year);
					 uint16_t scolor = ORANGE;//makeColor(127,127,255);
					 LCD_Draw_Text2(Buff,SW/2-FONT_CURR->Width*strlen(Buff)/2,SH/2-23,scolor,1,1,BGROUND);

					// sprintf(Buff,"%02d:%02d:%02d",sTime.Hours,sTime.Minutes,sTime.Seconds);
					 //FONT_CURR =  &Font8;
					 //LCD_Draw_Text2(Buff,SW/2-FONT_CURR->Width*strlen(Buff)/2,17+SH/2,makeColor(127,127,255),1,1,BGROUND);
					 float temp = 25.4f;
					 FONT_CURR =  &Font12;
					 sprintf(Buff,"%+2.1fC",temp);
					 int hrr = sTime.Hours%12;
					 if(hrr>=4&&hrr<=8)
					 {
						 LCD_Draw_Text2(Buff,SW/2-FONT_CURR->Width*strlen(Buff)/2,SH/2-14,scolor,1,1,BGROUND);
					 }
					 else
					 {
						LCD_Draw_Text2(Buff,SW/2-FONT_CURR->Width*strlen(Buff)/2,SH/2-14+28-pos,scolor,1,1,BGROUND);
					 }

					for(int s=0;s<12;s++)
					 {
						vec2f  start = vec2f_cr(0,SH/2-3.5);
						vec2f  end  = vec2f_cr(0,SH/2-0.5);
						float angle =- (s*5%60)*2*M_PI/60;
						rotate_mat(angle,center.x,center.y,mat);
						vec2f  startn = apply(mat,start);
						vec2f  endn = apply(mat,end);
						LCD_DrawLine(startn.x, SH-1-startn.y,endn.x,SH-1-endn.y,CYAN);
					}

					 for(int k=-1;k<=1;k++)
					 {
						vec2f  start = vec2f_cr(k,0);
						vec2f  end  = vec2f_cr(0.0,SH/2*0.55);
						float angle =- ((sTime.Hours%12)+sTime.Minutes/60.0f)*2*M_PI/12;
						rotate_mat(angle,center.x,center.y,mat);
						vec2f  startn = apply(mat,start);
						vec2f  endn = apply(mat,end);
						LCD_DrawLine(startn.x, SH-1-startn.y,endn.x,SH-1-endn.y,GREEN);

					 }
					 for(int k=-1;k<=1;k+=2)
					 {
						vec2f  start = vec2f_cr(k,0);
						vec2f  end  = vec2f_cr(0,SH/2*0.8);
						float angle =- (sTime.Minutes%60)*2*M_PI/60;
						rotate_mat(angle,center.x,center.y,mat);
						vec2f  startn = apply(mat,start);
						vec2f  endn = apply(mat,end);
						LCD_DrawLine(startn.x, SH-1-startn.y,endn.x,SH-1-endn.y,makeColor(127+64,255,64));
					 }
					 {

						vec2f  start = vec2f_cr(0,0);
						vec2f  end  = vec2f_cr(0,SH/2-3.5);
						float angle =- (sTime.Seconds%60)*2*M_PI/60;
						rotate_mat(angle,center.x,center.y,mat);
						vec2f  startn = apply(mat,start);
						vec2f  endn = apply(mat,end);
						LCD_DrawLine(startn.x, SH-1-startn.y,endn.x,SH-1-endn.y,makeColor(127+64,127+64,64));
					 }
					LCD_fillRect(SH/2-3,SH/2-3,5,5,CYAN);//makeColor(128+64,0,0));
					LCD_fillRect(SH/2-2,SH/2-2,3,3,BLUE);//makeColor(128+64,0,0));
					 //LCD_DrawCircleFull(SH/2-1, SW/2-1, 2 ,RED);

					 FONT_CURR =  &Font12;
					 //LCD_Draw_Text2("DurDom!",0,20+SH/2,BLUE,1,1,BGROUND);

					 convertColors();
				 }
#if 0
		 if(sTime.Seconds!=cnt)
		 {
			 char Buff[0x20];
			 ClrScr();
				int R = SW/2-1;
				LCD_DrawCircle(SH/2, SW/2, R ,GREEN);

			 cnt = sTime.Seconds;

			 sprintf(Buff,"%02d:%02d:%02d",sTime.Hours,sTime.Minutes,sTime.Seconds);

			 FONT_CURR =  &Font12;
			// LCD_Draw_Text2(Buff,4,0,GREEN,1,1,BGROUND);

			 FONT_CURR =  &Font8;
			 sprintf(Buff,"%02d %s 20%02d",sDate.Date,MontTable[sDate.Month],sDate.Year);
			 LCD_Draw_Text2(Buff,4,SH/2-4,YELLOW,1,1,BGROUND);
			 {
				 float angle = -(sTime.Hours%12)*2*M_PI/12+M_PI/2;
				 int yPos = -sin(angle)*R/2+SW/2;
				 int xPos = cos(angle)*R/2+SH/2;
				 printf("Angle = %f xPos = %d yPos = %d  ",angle,xPos,yPos);

				 LCD_DrawLine(SH/2, SW/2,xPos,yPos,GREEN);
			 }
			 {
				 float angle = -(sTime.Minutes%60)*2*M_PI/60+M_PI/2;
				 int yPos = -sin(angle)*R+SW/2;
				 int xPos = cos(angle)*R+SH/2;
				 printf("Angle = %f xPos = %d yPos = %d  ",angle,xPos,yPos);
				 LCD_DrawLine(SH/2, SW/2,xPos,yPos,BLUE);
			 }
			 {
				 float angle = -(sTime.Seconds%60)*2*M_PI/60+M_PI/2;
				 int yPos = -sin(angle)*R+SW/2;
				 int xPos = cos(angle)*R+SH/2;
				 printf("Angle = %f xPos = %d yPos = %d  \n",angle,xPos,yPos);
				 LCD_DrawLine(SH/2, SW/2,xPos,yPos,RED);
			 }

			 FONT_CURR =  &Font12;
			 //LCD_Draw_Text2("DurDom!",0,20,BLUE,1,1,BGROUND);

			 sprintf(Buff,"%02d:%02d:%02d",sTime.Hours,sTime.Minutes,sTime.Seconds);
			 FONT_CURR =  &Font8;
			 LCD_Draw_Text2(Buff,8,12+SH/2,GREEN,1,1,BGROUND);

			 FONT_CURR =  &Font8;
			 sprintf(Buff,"%02d %s 20%02d",sDate.Date,MontTable[sDate.Month],sDate.Year);
			 //LCD_Draw_Text2(Buff,4,12+SH/2,YELLOW,1,1,BGROUND);

			 FONT_CURR =  &Font12;
			 //LCD_Draw_Text2("DurDom!",0,20+SH/2,BLUE,1,1,BGROUND);

			 convertColors();
		 }
#endif
		 HAL_Delay(10);

  }
  /* USER CODE END 3 */
}

void SystemClock_Config(void)
{
  RCC_OscInitTypeDef RCC_OscInitStruct = {0};
  RCC_ClkInitTypeDef RCC_ClkInitStruct = {0};
  RCC_PeriphCLKInitTypeDef PeriphClkInitStruct = {0};

  /**Configure the main internal regulator output voltage
  */
  __HAL_RCC_PWR_CLK_ENABLE();
  __HAL_PWR_VOLTAGESCALING_CONFIG(PWR_REGULATOR_VOLTAGE_SCALE1);
  /**Initializes the CPU, AHB and APB busses clocks
  */
  RCC_OscInitStruct.OscillatorType = RCC_OSCILLATORTYPE_HSE|RCC_OSCILLATORTYPE_LSE;
  RCC_OscInitStruct.HSEState = RCC_HSE_ON;
  RCC_OscInitStruct.LSEState = RCC_LSE_ON;
  RCC_OscInitStruct.PLL.PLLState = RCC_PLL_ON;
  RCC_OscInitStruct.PLL.PLLSource = RCC_PLLSOURCE_HSE;
  RCC_OscInitStruct.PLL.PLLM = 4;
  RCC_OscInitStruct.PLL.PLLN = 168;
  RCC_OscInitStruct.PLL.PLLP = RCC_PLLP_DIV2;
  RCC_OscInitStruct.PLL.PLLQ = 7;
  if (HAL_RCC_OscConfig(&RCC_OscInitStruct) != HAL_OK)
  {
    Error_Handler();
  }
  /**Initializes the CPU, AHB and APB busses clocks
  */
  RCC_ClkInitStruct.ClockType = RCC_CLOCKTYPE_HCLK|RCC_CLOCKTYPE_SYSCLK
                              |RCC_CLOCKTYPE_PCLK1|RCC_CLOCKTYPE_PCLK2;
  RCC_ClkInitStruct.SYSCLKSource = RCC_SYSCLKSOURCE_PLLCLK;
  RCC_ClkInitStruct.AHBCLKDivider = RCC_SYSCLK_DIV1;
  RCC_ClkInitStruct.APB1CLKDivider = RCC_HCLK_DIV4;
  RCC_ClkInitStruct.APB2CLKDivider = RCC_HCLK_DIV2;

  if (HAL_RCC_ClockConfig(&RCC_ClkInitStruct, FLASH_LATENCY_5) != HAL_OK)
  {
    Error_Handler();
  }
  PeriphClkInitStruct.PeriphClockSelection = RCC_PERIPHCLK_RTC;
  PeriphClkInitStruct.RTCClockSelection = RCC_RTCCLKSOURCE_LSE;
  if (HAL_RCCEx_PeriphCLKConfig(&PeriphClkInitStruct) != HAL_OK)
  {
    Error_Handler();
  }
}

static void MX_RTC_Init(void)
{

  RTC_TimeTypeDef sTime = {0};
  RTC_DateTypeDef sDate = {0};

  /**Initialize RTC Only
  */
  hrtc.Instance = RTC;
  hrtc.Init.HourFormat = RTC_HOURFORMAT_24;
  hrtc.Init.AsynchPrediv = 127;
  hrtc.Init.SynchPrediv = 255;
  hrtc.Init.OutPut = RTC_OUTPUT_DISABLE;
  hrtc.Init.OutPutPolarity = RTC_OUTPUT_POLARITY_HIGH;
  hrtc.Init.OutPutType = RTC_OUTPUT_TYPE_OPENDRAIN;
  if (HAL_RTC_Init(&hrtc) != HAL_OK)
  {
    Error_Handler();
  }

  /**Initialize RTC and set the Time and Date
  */
  sTime.Hours = 0x0;
  sTime.Minutes = 0x0;
  sTime.Seconds = 0x0;
  sTime.DayLightSaving = RTC_DAYLIGHTSAVING_NONE;
  sTime.StoreOperation = RTC_STOREOPERATION_RESET;
  if (HAL_RTC_SetTime(&hrtc, &sTime, RTC_FORMAT_BCD) != HAL_OK)
  {
    Error_Handler();
  }
  sDate.WeekDay = RTC_WEEKDAY_MONDAY;
  sDate.Month = RTC_MONTH_JANUARY;
  sDate.Date = 0x1;
  sDate.Year = 0x0;

  if (HAL_RTC_SetDate(&hrtc, &sDate, RTC_FORMAT_BCD) != HAL_OK)
  {
    Error_Handler();
  }

}

static void MX_SPI1_Init(void)
{

  /* SPI1 parameter configuration*/
  hspi1.Instance = SPI1;
  hspi1.Init.Mode = SPI_MODE_MASTER;
  hspi1.Init.Direction = SPI_DIRECTION_2LINES;
  hspi1.Init.DataSize = SPI_DATASIZE_8BIT;
  hspi1.Init.CLKPolarity = SPI_POLARITY_LOW;
  hspi1.Init.CLKPhase = SPI_PHASE_1EDGE;
  hspi1.Init.NSS = SPI_NSS_SOFT;
  hspi1.Init.BaudRatePrescaler = SPI_BAUDRATEPRESCALER_2;
  hspi1.Init.FirstBit = SPI_FIRSTBIT_MSB;
  hspi1.Init.TIMode = SPI_TIMODE_DISABLE;
  hspi1.Init.CRCCalculation = SPI_CRCCALCULATION_DISABLE;
  hspi1.Init.CRCPolynomial = 10;
  if (HAL_SPI_Init(&hspi1) != HAL_OK)
  {
    Error_Handler();
  }

}

static void MX_TIM1_Init(void)
{

  TIM_ClockConfigTypeDef sClockSourceConfig = {0};
  TIM_MasterConfigTypeDef sMasterConfig = {0};

  htim1.Instance = TIM1;
  htim1.Init.Prescaler = 168-1;
  htim1.Init.CounterMode = TIM_COUNTERMODE_UP;
  htim1.Init.Period = 40-1;
  htim1.Init.ClockDivision = TIM_CLOCKDIVISION_DIV1;
  htim1.Init.RepetitionCounter = 0;
  if (HAL_TIM_Base_Init(&htim1) != HAL_OK)
  {
    Error_Handler();
  }
  sClockSourceConfig.ClockSource = TIM_CLOCKSOURCE_INTERNAL;
  if (HAL_TIM_ConfigClockSource(&htim1, &sClockSourceConfig) != HAL_OK)
  {
    Error_Handler();
  }
  sMasterConfig.MasterOutputTrigger = TIM_TRGO_RESET;
  sMasterConfig.MasterSlaveMode = TIM_MASTERSLAVEMODE_DISABLE;
  if (HAL_TIMEx_MasterConfigSynchronization(&htim1, &sMasterConfig) != HAL_OK)
  {
    Error_Handler();
  }

}

static void MX_USART3_UART_Init(void)
{

  huart3.Instance = USART3;
  huart3.Init.BaudRate = 115200;
  huart3.Init.WordLength = UART_WORDLENGTH_8B;
  huart3.Init.StopBits = UART_STOPBITS_1;
  huart3.Init.Parity = UART_PARITY_NONE;
  huart3.Init.Mode = UART_MODE_TX_RX;
  huart3.Init.HwFlowCtl = UART_HWCONTROL_NONE;
  huart3.Init.OverSampling = UART_OVERSAMPLING_16;
  if (HAL_UART_Init(&huart3) != HAL_OK)
  {
    Error_Handler();
  }

}

static void MX_GPIO_Init(void)
{
  GPIO_InitTypeDef GPIO_InitStruct = {0};

  /* GPIO Ports Clock Enable */
  __HAL_RCC_GPIOE_CLK_ENABLE();
  __HAL_RCC_GPIOC_CLK_ENABLE();
  __HAL_RCC_GPIOH_CLK_ENABLE();
  __HAL_RCC_GPIOA_CLK_ENABLE();
  __HAL_RCC_GPIOB_CLK_ENABLE();
  __HAL_RCC_GPIOD_CLK_ENABLE();

  /*Configure GPIO pin Output Level */
  HAL_GPIO_WritePin(GPIOA, LED_Pin|SB2_Pin|SR2_Pin|SG2_Pin
                          |OE_BLANK_Pin|LATCH_Pin|CLK_Pin|FLASH_CS_Pin, GPIO_PIN_RESET);

  /*Configure GPIO pin Output Level */
  HAL_GPIO_WritePin(GPIOC, LINE_D_Pin|LINE_C_Pin|SD_CS_Pin|SD_CLK_Pin, GPIO_PIN_RESET);

  /*Configure GPIO pin Output Level */
  HAL_GPIO_WritePin(GPIOB, LINE_B_Pin|LINE_A_Pin, GPIO_PIN_RESET);

  /*Configure GPIO pin Output Level */
  HAL_GPIO_WritePin(GPIOE, SB1_Pin|B2_Pin|G2_Pin|R2_Pin
                          |SG1_Pin|B1_Pin|G1_Pin|R1_Pin
                          |SR1_Pin, GPIO_PIN_RESET);

  /*Configure GPIO pin Output Level */
  HAL_GPIO_WritePin(SD_MOSI_GPIO_Port, SD_MOSI_Pin, GPIO_PIN_RESET);

  /*Configure GPIO pins : PE2 PE3 PE4 PE5
                           PE6 PE0 PE1 */
  GPIO_InitStruct.Pin = GPIO_PIN_2|GPIO_PIN_3|GPIO_PIN_4|GPIO_PIN_5
                          |GPIO_PIN_6|GPIO_PIN_0|GPIO_PIN_1;
  GPIO_InitStruct.Mode = GPIO_MODE_ANALOG;
  GPIO_InitStruct.Pull = GPIO_NOPULL;
  HAL_GPIO_Init(GPIOE, &GPIO_InitStruct);

  /*Configure GPIO pins : PC13 PC0 PC1 PC2
                           PC3 PC6 PC7 PC9
                           PC10 */
  GPIO_InitStruct.Pin = GPIO_PIN_13|GPIO_PIN_0|GPIO_PIN_1|GPIO_PIN_2
                          |GPIO_PIN_3|GPIO_PIN_6|GPIO_PIN_7|GPIO_PIN_9
                          |GPIO_PIN_10;
  GPIO_InitStruct.Mode = GPIO_MODE_ANALOG;
  GPIO_InitStruct.Pull = GPIO_NOPULL;
  HAL_GPIO_Init(GPIOC, &GPIO_InitStruct);

  /*Configure GPIO pin : KEY1_Pin */
  GPIO_InitStruct.Pin = KEY1_Pin;
  GPIO_InitStruct.Mode = GPIO_MODE_INPUT;
  GPIO_InitStruct.Pull = GPIO_PULLDOWN;
  HAL_GPIO_Init(KEY1_GPIO_Port, &GPIO_InitStruct);

  /*Configure GPIO pin : LED_Pin */
  GPIO_InitStruct.Pin = LED_Pin;
  GPIO_InitStruct.Mode = GPIO_MODE_OUTPUT_OD;
  GPIO_InitStruct.Pull = GPIO_NOPULL;
  GPIO_InitStruct.Speed = GPIO_SPEED_FREQ_LOW;
  HAL_GPIO_Init(LED_GPIO_Port, &GPIO_InitStruct);

  /*Configure GPIO pins : SB2_Pin SR2_Pin SG2_Pin OE_BLANK_Pin
                           LATCH_Pin CLK_Pin FLASH_CS_Pin */
  GPIO_InitStruct.Pin = SB2_Pin|SR2_Pin|SG2_Pin|OE_BLANK_Pin
                          |LATCH_Pin|CLK_Pin|FLASH_CS_Pin;
  GPIO_InitStruct.Mode = GPIO_MODE_OUTPUT_PP;
  GPIO_InitStruct.Pull = GPIO_NOPULL;
  GPIO_InitStruct.Speed = GPIO_SPEED_FREQ_LOW;
  HAL_GPIO_Init(GPIOA, &GPIO_InitStruct);

  /*Configure GPIO pins : LINE_D_Pin LINE_C_Pin */
  GPIO_InitStruct.Pin = LINE_D_Pin|LINE_C_Pin;
  GPIO_InitStruct.Mode = GPIO_MODE_OUTPUT_PP;
  GPIO_InitStruct.Pull = GPIO_NOPULL;
  GPIO_InitStruct.Speed = GPIO_SPEED_FREQ_LOW;
  HAL_GPIO_Init(GPIOC, &GPIO_InitStruct);

  /*Configure GPIO pins : LINE_B_Pin LINE_A_Pin */
  GPIO_InitStruct.Pin = LINE_B_Pin|LINE_A_Pin;
  GPIO_InitStruct.Mode = GPIO_MODE_OUTPUT_PP;
  GPIO_InitStruct.Pull = GPIO_NOPULL;
  GPIO_InitStruct.Speed = GPIO_SPEED_FREQ_LOW;
  HAL_GPIO_Init(GPIOB, &GPIO_InitStruct);

  /*Configure GPIO pins : PB2 PB12 PB13 PB14
                           PB15 PB6 PB7 PB8
                           PB9 */
  GPIO_InitStruct.Pin = GPIO_PIN_2|GPIO_PIN_12|GPIO_PIN_13|GPIO_PIN_14
                          |GPIO_PIN_15|GPIO_PIN_6|GPIO_PIN_7|GPIO_PIN_8
                          |GPIO_PIN_9;
  GPIO_InitStruct.Mode = GPIO_MODE_ANALOG;
  GPIO_InitStruct.Pull = GPIO_NOPULL;
  HAL_GPIO_Init(GPIOB, &GPIO_InitStruct);

  /*Configure GPIO pins : SB1_Pin B2_Pin G2_Pin R2_Pin
                           SG1_Pin B1_Pin G1_Pin R1_Pin
                           SR1_Pin */
  GPIO_InitStruct.Pin = SB1_Pin|B2_Pin|G2_Pin|R2_Pin
                          |SG1_Pin|B1_Pin|G1_Pin|R1_Pin
                          |SR1_Pin;
  GPIO_InitStruct.Mode = GPIO_MODE_OUTPUT_PP;
  GPIO_InitStruct.Pull = GPIO_NOPULL;
  GPIO_InitStruct.Speed = GPIO_SPEED_FREQ_LOW;
  HAL_GPIO_Init(GPIOE, &GPIO_InitStruct);

  /*Configure GPIO pins : PD8 PD9 PD10 PD11
                           PD12 PD13 PD14 PD15
                           PD0 PD1 PD3 PD4
                           PD5 PD6 PD7 */
  GPIO_InitStruct.Pin = GPIO_PIN_8|GPIO_PIN_9|GPIO_PIN_10|GPIO_PIN_11
                          |GPIO_PIN_12|GPIO_PIN_13|GPIO_PIN_14|GPIO_PIN_15
                          |GPIO_PIN_0|GPIO_PIN_1|GPIO_PIN_3|GPIO_PIN_4
                          |GPIO_PIN_5|GPIO_PIN_6|GPIO_PIN_7;
  GPIO_InitStruct.Mode = GPIO_MODE_ANALOG;
  GPIO_InitStruct.Pull = GPIO_NOPULL;
  HAL_GPIO_Init(GPIOD, &GPIO_InitStruct);

  /*Configure GPIO pin : SD_MISO_Pin */
  GPIO_InitStruct.Pin = SD_MISO_Pin;
  GPIO_InitStruct.Mode = GPIO_MODE_INPUT;
  GPIO_InitStruct.Pull = GPIO_NOPULL;
  HAL_GPIO_Init(SD_MISO_GPIO_Port, &GPIO_InitStruct);

  /*Configure GPIO pins : PA8 PA9 PA10 PA11
                           PA12 */
  GPIO_InitStruct.Pin = GPIO_PIN_8|GPIO_PIN_9|GPIO_PIN_10|GPIO_PIN_11
                          |GPIO_PIN_12;
  GPIO_InitStruct.Mode = GPIO_MODE_ANALOG;
  GPIO_InitStruct.Pull = GPIO_NOPULL;
  HAL_GPIO_Init(GPIOA, &GPIO_InitStruct);

  /*Configure GPIO pins : SD_CS_Pin SD_CLK_Pin */
  GPIO_InitStruct.Pin = SD_CS_Pin|SD_CLK_Pin;
  GPIO_InitStruct.Mode = GPIO_MODE_OUTPUT_PP;
  GPIO_InitStruct.Pull = GPIO_NOPULL;
  GPIO_InitStruct.Speed = GPIO_SPEED_FREQ_VERY_HIGH;
  HAL_GPIO_Init(GPIOC, &GPIO_InitStruct);

  /*Configure GPIO pin : SD_MOSI_Pin */
  GPIO_InitStruct.Pin = SD_MOSI_Pin;
  GPIO_InitStruct.Mode = GPIO_MODE_OUTPUT_PP;
  GPIO_InitStruct.Pull = GPIO_NOPULL;
  GPIO_InitStruct.Speed = GPIO_SPEED_FREQ_VERY_HIGH;
  HAL_GPIO_Init(SD_MOSI_GPIO_Port, &GPIO_InitStruct);

}

void HAL_TIM_PeriodElapsedCallback(TIM_HandleTypeDef *htim)
{
  if (htim->Instance == TIM2) {
    HAL_IncTick();
  }
  /* USER CODE BEGIN Callback 1 */
  	  if(htim->Instance == TIM1)
  		  HAL_TIM_PeriodElapsedCallback1(htim);
  /* USER CODE END Callback 1 */
}

void Error_Handler(void)
{
}

/************************ (C) COPYRIGHT STMicroelectronics *****END OF FILE****/
